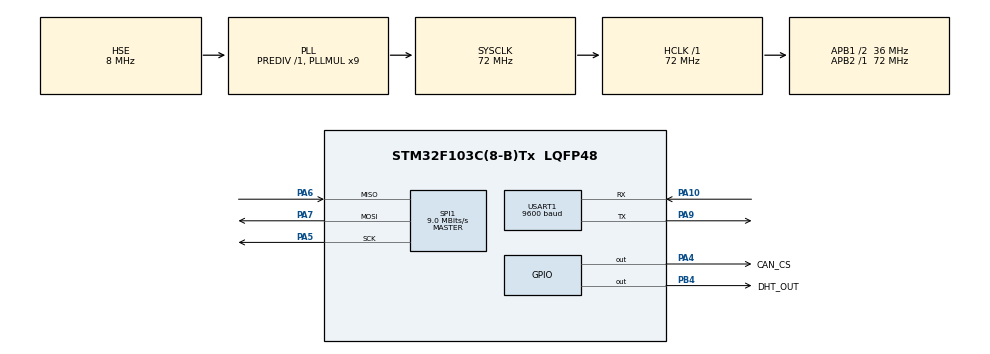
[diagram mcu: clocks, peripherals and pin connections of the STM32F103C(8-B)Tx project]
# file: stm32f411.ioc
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Mcu.Family=STM32F1
Mcu.Name=STM32F103C(8-B)Tx
Mcu.Package=LQFP48
NVIC.PriorityGroup=NVIC_PRIORITYGROUP_4
PA10.Mode=Asynchronous
PA10.Signal=USART1_RX
PA13.Mode=Serial_Wire
PA13.Signal=SYS_JTMS-SWDIO
PA14.Mode=Serial_Wire
PA14.Signal=SYS_JTCK-SWCLK
PA4.GPIO_Label=CAN_CS
PA4.Signal=GPIO_Output
PA5.Mode=Full_Duplex_Master
PA5.Signal=SPI1_SCK
PA6.Mode=Full_Duplex_Master
PA6.Signal=SPI1_MISO
PA7.Mode=Full_Duplex_Master
PA7.Signal=SPI1_MOSI
PA9.Mode=Asynchronous
PA9.Signal=USART1_TX
PB4.GPIO_Label=DHT_OUT
PB4.Signal=GPIO_Output
PD0-OSC_IN.Mode=HSE-External-Oscillator
PD0-OSC_IN.Signal=RCC_OSC_IN
PD1-OSC_OUT.Mode=HSE-External-Oscillator
PD1-OSC_OUT.Signal=RCC_OSC_OUT
ProjectManager.HeapSize=0x200
ProjectManager.StackSize=0x400
ProjectManager.TargetToolchain=STM32CubeIDE
RCC.AHBFreq_Value=72000000
RCC.APB1CLKDivider=RCC_HCLK_DIV2
RCC.APB1Freq_Value=36000000
RCC.APB1TimFreq_Value=72000000
RCC.APB2Freq_Value=72000000
RCC.APB2TimFreq_Value=72000000
RCC.HCLKFreq_Value=72000000
RCC.PLLMUL=RCC_PLL_MUL9
RCC.PLLSourceVirtual=RCC_PLLSOURCE_HSE
RCC.SYSCLKFreq_VALUE=72000000
RCC.SYSCLKSource=RCC_SYSCLKSOURCE_PLLCLK
RCC.USBFreq_Value=72000000
SPI1.BaudRatePrescaler=SPI_BAUDRATEPRESCALER_8
SPI1.CalculateBaudRate=9.0 MBits/s
SPI1.Direction=SPI_DIRECTION_2LINES
SPI1.Mode=SPI_MODE_MASTER
SPI1.VirtualType=VM_MASTER
TIM1.Prescaler=72-1
USART1.BaudRate=9600
USART1.VirtualMode=VM_ASYNC
VP_TIM1_VS_ClockSourceINT.Mode=Internal
board=custom

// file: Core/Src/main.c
/* USER CODE BEGIN Header */
/**
  ******************************************************************************
  * @file           : main.c
  * @brief          : Main program body
  ******************************************************************************
  * @attention
  *
  * Copyright (c) 2025 STMicroelectronics.
  * All rights reserved.
  *
  * This software is licensed under terms that can be found in the LICENSE file
  * in the root directory of this software component.
  * If no LICENSE file comes with this software, it is provided AS-IS.
  *
  ******************************************************************************
  */
/* USER CODE END Header */
#include "main.h"
#include "spi.h"
#include "tim.h"
#include "usart.h"
#include "gpio.h"

/* USER CODE BEGIN Includes */
#include "dht.h"
#include "can.h"
/* USER CODE END Includes */

void SystemClock_Config(void);
/* USER CODE BEGIN PFP */
int _write(int file, char* p, int len){
	HAL_UART_Transmit(&huart1, (uint8_t*)p, len, HAL_MAX_DELAY);
	return len;
}

void Delay (uint16_t delay);
/* USER CODE END PFP */

int main(void)
{

  /* USER CODE BEGIN 1 */
	float temperature = 0;
	float humidity = 0;

	uCAN_MSG txMessage;
  /* USER CODE END 1 */

  /* MCU Configuration--------------------------------------------------------*/

  /* Reset of all peripherals, Initializes the Flash interface and the Systick. */
  HAL_Init();

  /* Configure the system clock */
  SystemClock_Config();

  /* Initialize all configured peripherals */
  MX_GPIO_Init();
  MX_USART1_UART_Init();
  MX_TIM1_Init();
  MX_SPI1_Init();
  /* USER CODE BEGIN 2 */
  HAL_TIM_Base_Start(&htim1);
  CANSPI_Initialize();
  /* USER CODE END 2 */

  /* Infinite loop */
  while (1)
  {

    /* USER CODE BEGIN 3 */

	  DHT_GetData(&temperature, &humidity);
	  uint16_t TempToSend = (uint16_t)(temperature*100);
	  uint16_t HumiToSend = (uint16_t)(humidity*100);

	  txMessage.frame.idType = dSTANDARD_CAN_MSG_ID_2_0B;
	  txMessage.frame.id = 0x167;
	  txMessage.frame.dlc = 8;
	  txMessage.frame.data0 = (TempToSend >> 8) & 0xFF;
	  txMessage.frame.data1 = TempToSend & 0xFF;
	  txMessage.frame.data2 = (HumiToSend >> 8) & 0xFF;
	  txMessage.frame.data3 = HumiToSend &0xFF;
	  txMessage.frame.data4 = 0;
	  txMessage.frame.data5 = 0;
	  txMessage.frame.data6 = 0;
	  txMessage.frame.data7 = 0;

	  CANSPI_Transmit(&txMessage);

	  if(CANSPI_Transmit(&txMessage) == 1)
	  {
	      printf("송신이 성공했습니다: 온도 %.2f, 습도 %.2f\n", temperature, humidity);
	  } else {
	      printf("송신이 실패했습니다.\n");
	  }

	  HAL_Delay(1000);
  /* USER CODE END 3 */
  }
}

void SystemClock_Config(void)
{
  RCC_OscInitTypeDef RCC_OscInitStruct = {0};
  RCC_ClkInitTypeDef RCC_ClkInitStruct = {0};

  /** Initializes the RCC Oscillators according to the specified parameters
  * in the RCC_OscInitTypeDef structure.
  */
  RCC_OscInitStruct.OscillatorType = RCC_OSCILLATORTYPE_HSE;
  RCC_OscInitStruct.HSEState = RCC_HSE_ON;
  RCC_OscInitStruct.HSEPredivValue = RCC_HSE_PREDIV_DIV1;
  RCC_OscInitStruct.HSIState = RCC_HSI_ON;
  RCC_OscInitStruct.PLL.PLLState = RCC_PLL_ON;
  RCC_OscInitStruct.PLL.PLLSource = RCC_PLLSOURCE_HSE;
  RCC_OscInitStruct.PLL.PLLMUL = RCC_PLL_MUL9;
  if (HAL_RCC_OscConfig(&RCC_OscInitStruct) != HAL_OK)
  {
    Error_Handler();
  }

  /** Initializes the CPU, AHB and APB buses clocks
  */
  RCC_ClkInitStruct.ClockType = RCC_CLOCKTYPE_HCLK|RCC_CLOCKTYPE_SYSCLK
                              |RCC_CLOCKTYPE_PCLK1|RCC_CLOCKTYPE_PCLK2;
  RCC_ClkInitStruct.SYSCLKSource = RCC_SYSCLKSOURCE_PLLCLK;
  RCC_ClkInitStruct.AHBCLKDivider = RCC_SYSCLK_DIV1;
  RCC_ClkInitStruct.APB1CLKDivider = RCC_HCLK_DIV2;
  RCC_ClkInitStruct.APB2CLKDivider = RCC_HCLK_DIV1;

  if (HAL_RCC_ClockConfig(&RCC_ClkInitStruct, FLASH_LATENCY_2) != HAL_OK)
  {
    Error_Handler();
  }
}

void Error_Handler(void)
{
  __disable_irq();
  while (1)
  {
  }
}
